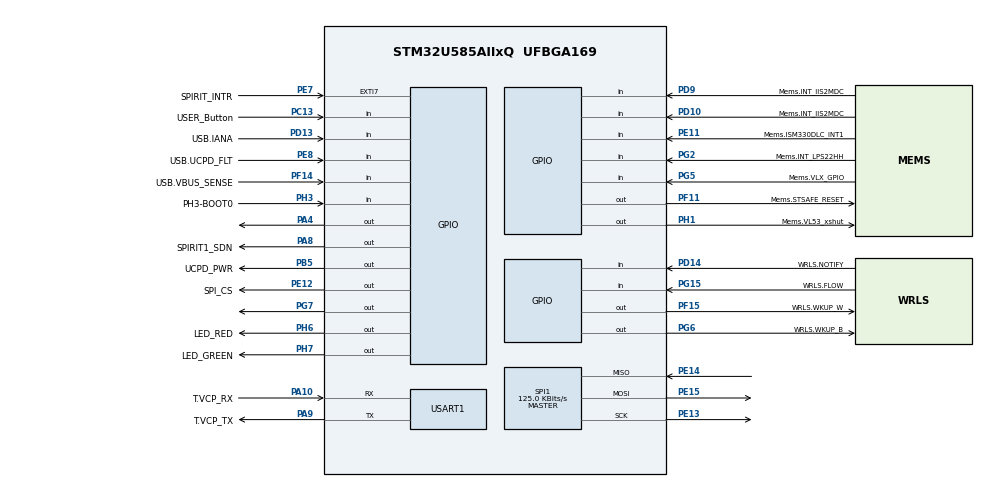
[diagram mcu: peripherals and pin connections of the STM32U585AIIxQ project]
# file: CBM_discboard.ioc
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CORTEX_M33_NS.userName=CORTEX_M33
Mcu.Family=STM32U5
Mcu.Name=STM32U585AIIxQ
Mcu.Package=UFBGA169
NVIC.EXTI7_IRQn=true\:1\:0\:true\:false\:true\:true\:true\:true
NVIC.PriorityGroup=NVIC_PRIORITYGROUP_4
PA10.GPIO_Label=T.VCP_RX
PA10.Mode=Asynchronous
PA10.Signal=USART1_RX
PA11.GPIO_Label=USB.C_P
PA11.Signal=USB_OTG_FS_DM
PA12.GPIO_Label=USB.C_P
PA12.Signal=USB_OTG_FS_DP
PA13\ (JTMS/SWDIO).GPIO_Label=T.SWDIO
PA13\ (JTMS/SWDIO).Signal=DEBUG_JTMS-SWDIO
PA14\ (JTCK/SWCLK).GPIO_Label=T.SWCLK
PA14\ (JTCK/SWCLK).Signal=DEBUG_JTCK-SWCLK
PA15\ (JTDI).GPIO_Label=USB.UCPD_CC1
PA15\ (JTDI).Signal=UCPD1_CC1
PA4.PinState=GPIO_PIN_SET
PA4.Signal=GPIO_Output
PA8.GPIO_Label=SPIRIT1_SDN
PA8.Signal=GPIO_Output
PA9.GPIO_Label=T.VCP_TX
PA9.Mode=Asynchronous
PA9.Signal=USART1_TX
PB1.GPIO_Label=MIC.SDIN0
PB1.Signal=MDF1_SDI0
PB10.GPIO_Label=OCTOSPI.R_CLK_P
PB10.Signal=OCTOSPIM_P1_CLK
PB11.GPIO_Label=OCTOSPI.R_NCS
PB11.Signal=OCTOSPIM_P1_NCS
PB12.GPIO_Label=WRLS.SPI2_NSS
PB12.Signal=SPI2_NSS
PB15.GPIO_Label=USB.UCPD_CC2
PB15.Signal=UCPD1_CC2
PB3\ (JTDO/TRACESWO).GPIO_Label=T.SWO
PB3\ (JTDO/TRACESWO).Signal=DEBUG_JTDO-SWO
PB5.GPIO_Label=UCPD_PWR
PB5.Signal=GPIO_Output
PB8.Signal=I2C1_SCL
PB9.Signal=I2C1_SDA
PC10.GPIO_Label=WRLS.UART4_TX
PC10.Signal=UART4_TX
PC11.GPIO_Label=WRLS.UART4_RX
PC11.Signal=UART4_RX
PC13.GPIO_Label=USER_Button
PC13.Signal=GPIO_Input
PC14-OSC32_IN\ (PC14).GPIO_Label=PC14-OSC32_IN
PC14-OSC32_IN\ (PC14).Signal=RCC_OSC32_IN
PC15-OSC32_OUT\ (PC15).GPIO_Label=PC15-OSC32_OUT
PC15-OSC32_OUT\ (PC15).Signal=RCC_OSC32_OUT
PC3.GPIO_Label=OCTOSPI.R_IO6
PC3.Signal=OCTOSPIM_P1_IO6
PD1.GPIO_Label=WRLS.SPI2_SCK
PD1.Signal=SPI2_SCK
PD10.GPIO_Label=Mems.INT_IIS2MDC
PD10.Signal=GPIO_Input
PD13.GPIO_Label=USB.IANA
PD13.Signal=GPIO_Input
PD14.GPIO_Label=WRLS.NOTIFY
PD14.Signal=GPIO_Input
PD3.GPIO_Label=WRLS.SPI2_MISO
PD3.Signal=SPI2_MISO
PD4.GPIO_Label=WRLS.SPI2_MOSI
PD4.Signal=SPI2_MOSI
PD7.GPIO_Label=OCTOSPI.R_IO7
PD7.Signal=OCTOSPIM_P1_IO7
PD9.GPIO_Label=Mems.INT_IIS2MDC
PD9.Signal=GPIO_Input
PE10.GPIO_Label=MIC.SDINx
PE10.Signal=ADF1_SDI0
PE11.GPIO_Label=Mems.ISM330DLC_INT1
PE11.Signal=GPIO_Input
PE12.GPIO_Label=SPI_CS
PE12.PinState=GPIO_PIN_SET
PE12.Signal=GPIO_Output
PE13.Mode=Full_Duplex_Master
PE13.Signal=SPI1_SCK
PE14.Mode=Full_Duplex_Master
PE14.Signal=SPI1_MISO
PE15.Mode=Full_Duplex_Master
PE15.Signal=SPI1_MOSI
PE3.GPIO_Label=OCTOSPI.R_DQS
PE3.Signal=OCTOSPIM_P1_DQS
PE7.GPIO_Label=SPIRIT_INTR
PE7.GPIO_ModeDefaultEXTI=GPIO_MODE_IT_FALLING
PE7.Signal=GPXTI7
PE8.GPIO_Label=USB.UCPD_FLT
PE8.Signal=GPIO_Input
PE9.GPIO_Label=MIC.CCK0
PE9.Signal=ADF1_CCK0
PF0.GPIO_Label=OCTOSPI.F_IO0
PF0.Signal=OCTOSPIM_P2_IO0
PF1.GPIO_Label=OCTOSPI.F_IO1
PF1.Signal=OCTOSPIM_P2_IO1
PF10.GPIO_Label=MIC.CCK1
PF10.Signal=MDF1_CCK1
PF11.GPIO_Label=Mems.STSAFE_RESET
PF11.Signal=GPIO_Output
PF12.GPIO_Label=OCTOSPI.F_DQS
PF12.Signal=OCTOSPIM_P2_DQS
PF14.GPIO_Label=USB.VBUS_SENSE
PF14.Signal=GPIO_Input
PF15.GPIO_Label=WRLS.WKUP_W
PF15.Signal=GPIO_Output
PF2.GPIO_Label=OCTOSPI.F_IO2
PF2.Signal=OCTOSPIM_P2_IO2
PF3.GPIO_Label=OCTOSPI.F_IO3
PF3.Signal=OCTOSPIM_P2_IO3
PF4.GPIO_Label=OCTOSPI.F_CLK_P
PF4.Signal=OCTOSPIM_P2_CLK
PF6.GPIO_Label=OCTOSPI.R_IO3
PF6.Signal=OCTOSPIM_P1_IO3
PF7.GPIO_Label=OCTOSPI.R_IO2
PF7.Signal=OCTOSPIM_P1_IO2
PF8.GPIO_Label=OCTOSPI.R_IO0
PF8.Signal=OCTOSPIM_P1_IO0
PF9.GPIO_Label=OCTOSPI.R_IO1
PF9.Signal=OCTOSPIM_P1_IO1
PG15.GPIO_Label=WRLS.FLOW
PG15.Signal=GPIO_Input
PG2.GPIO_Label=Mems.INT_LPS22HH
PG2.Signal=GPIO_Input
PG5.GPIO_Label=Mems.VLX_GPIO
PG5.Signal=GPIO_Input
PG6.GPIO_Label=WRLS.WKUP_B
PG6.Signal=GPIO_Output
PG7.Signal=GPIO_Output
PH1-OSC_OUT\ (PH1).GPIO_Label=Mems.VL53_xshut
PH1-OSC_OUT\ (PH1).Signal=GPIO_Output
PH10.GPIO_Label=OCTOSPI.F_IO5
PH10.Signal=OCTOSPIM_P2_IO5
PH11.GPIO_Label=OCTOSPI.F_IO6
PH11.Signal=OCTOSPIM_P2_IO6
PH12.GPIO_Label=OCTOSPI.F_IO7
PH12.Signal=OCTOSPIM_P2_IO7
PH2.GPIO_Label=OCTOSPI.R_IO4
PH2.Signal=OCTOSPIM_P1_IO4
PH3-BOOT0.GPIO_Label=PH3-BOOT0
PH3-BOOT0.Signal=GPIO_Input
PH4.Signal=I2C2_SCL
PH5.Signal=I2C2_SDA
PH6.GPIO_Label=LED_RED
PH6.Signal=GPIO_Output
PH7.GPIO_Label=LED_GREEN
PH7.Signal=GPIO_Output
PH9.GPIO_Label=OCTOSPI.F_IO4
PH9.Signal=OCTOSPIM_P2_IO4
PI0.GPIO_Label=OCTOSPI.R_IO5
PI0.Signal=OCTOSPIM_P1_IO5
PI5.GPIO_Label=OCTOSPI.F_NCS
PI5.Signal=OCTOSPIM_P2_NCS
ProjectManager.HeapSize=0x200
ProjectManager.StackSize=0x400
ProjectManager.TargetToolchain=STM32CubeIDE
RCC.DACCLockSelectionVirtual=RCC_DAC1CLKSOURCE_LSI
RCC.DACCLockSelectionVirtualString=RCC_DAC1CLKSOURCE_LSI
RCC.EPOD_VALUE=4000000
RCC.HSE_VALUE=16000000
RCC.HSI48_VALUE=48000000
RCC.HSI_VALUE=16000000
RCC.LSE_VALUE=32768
RCC.LSIDIV_VALUE=32000
RCC.MSI_VALUE=4000000
RCC.USBFreq_Value=48000000
RCC.VCOOutputFreq_Value=516000000
SPI1.BaudRatePrescaler=SPI_BAUDRATEPRESCALER_32
SPI1.CLKPhase=SPI_PHASE_1EDGE
SPI1.CalculateBaudRate=125.0 KBits/s
SPI1.DataSize=SPI_DATASIZE_8BIT
SPI1.Direction=SPI_DIRECTION_2LINES
SPI1.FirstBit=SPI_FIRSTBIT_MSB
SPI1.Mode=SPI_MODE_MASTER
SPI1.VirtualType=VM_MASTER
USART1.VirtualMode-Asynchronous=VM_ASYNC
VP_PWR_VS_DBSignals.Mode=DisableDeadBatterySignals
VP_PWR_VS_SECSignals.Mode=Security/Privilege
board=B-U585I-IOT02A

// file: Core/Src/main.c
/* USER CODE BEGIN Header */
/**
  ******************************************************************************
  * @file           : main.c
  * @brief          : Main program body
  ******************************************************************************
  * @attention
  *
  * Copyright (c) 2022 STMicroelectronics.
  * All rights reserved.
  *
  * This software is licensed under terms that can be found in the LICENSE file
  * in the root directory of this software component.
  * If no LICENSE file comes with this software, it is provided AS-IS.
  *
  ******************************************************************************
  */
/* USER CODE END Header */
#include "main.h"

/* USER CODE BEGIN Includes */
#include "spsgrf.h"
#include "string.h"
#include "debug.h"
#include "comm.h"
#include "config.h"
/* USER CODE END Includes */

SPI_HandleTypeDef hspi1;

UART_HandleTypeDef huart1;

/* USER CODE BEGIN PV */
const char *module = "main";
#define main_print_debug(str) print_debug(module, str);

enum states state = SEND;
uint8_t receive = 0;
/* USER CODE END PV */

void SystemClock_Config(void);
static void MX_GPIO_Init(void);
static void MX_SPI1_Init(void);
static void MX_USART1_UART_Init(void);

int main(void)
{

  /* MCU Configuration--------------------------------------------------------*/

  /* Reset of all peripherals, Initializes the Flash interface and the Systick. */
  HAL_Init();
  HAL_PWREx_EnableVddIO2();

  /* Configure the system clock */
  SystemClock_Config();

  /* Initialize all configured peripherals */
  MX_GPIO_Init();
  MX_SPI1_Init();
  MX_USART1_UART_Init();
  c.send_flag = config();
  /* USER CODE BEGIN 2 */
  main_print_debug("****************PROGRAM STARTED******************");
  main_print_debug("Peripherals initialized!");
  SPSGRF_Init();
  main_print_debug("SPSGRF initialized!");
  char test2[20];
  uint8_t rxdata[20];
  uint8_t temp_val[20];
  int i = 0;
  /* USER CODE END 2 */

  /* Infinite loop */
  /* USER CODE BEGIN WHILE */
  main_print_debug("Main loop begin");
  while (1)
  {
	  switch(state){
	  case SEND:
		  main_print_debug("Data send request");
		  comm_request(3.4,2,7,8);
		  HAL_Delay(20);
		  state = IDLE;
		  break;
	  case RECEIVE:
		  main_print_debug("Starting RX state");
		  SPSGRF_StartRx();
		  state = IDLE;
		  break;
	  case IDLE:
		  if(HAL_GPIO_ReadPin(GPIOC, USER_Button_Pin)){
			  main_print_debug("Button pressed");
			  state = SEND;
			  sprintf(test2, "hallo! %d", i);
			  i++;
		  }
		  HAL_Delay(100);
		  break;
	  }

    /* USER CODE END WHILE */

  }
}

void SystemClock_Config(void)
{
  RCC_OscInitTypeDef RCC_OscInitStruct = {0};
  RCC_ClkInitTypeDef RCC_ClkInitStruct = {0};

  /** Configure the main internal regulator output voltage
  */
  if (HAL_PWREx_ControlVoltageScaling(PWR_REGULATOR_VOLTAGE_SCALE4) != HAL_OK)
  {
    Error_Handler();
  }
  /** Initializes the CPU, AHB and APB busses clocks
  */
  RCC_OscInitStruct.OscillatorType = RCC_OSCILLATORTYPE_MSI;
  RCC_OscInitStruct.MSIState = RCC_MSI_ON;
  RCC_OscInitStruct.MSICalibrationValue = RCC_MSICALIBRATION_DEFAULT;
  RCC_OscInitStruct.MSIClockRange = RCC_MSIRANGE_4;
  RCC_OscInitStruct.PLL.PLLState = RCC_PLL_NONE;
  if (HAL_RCC_OscConfig(&RCC_OscInitStruct) != HAL_OK)
  {
    Error_Handler();
  }
  /** Initializes the CPU, AHB and APB busses clocks
  */
  RCC_ClkInitStruct.ClockType = RCC_CLOCKTYPE_HCLK|RCC_CLOCKTYPE_SYSCLK
                              |RCC_CLOCKTYPE_PCLK1|RCC_CLOCKTYPE_PCLK2
                              |RCC_CLOCKTYPE_PCLK3;
  RCC_ClkInitStruct.SYSCLKSource = RCC_SYSCLKSOURCE_MSI;
  RCC_ClkInitStruct.AHBCLKDivider = RCC_SYSCLK_DIV1;
  RCC_ClkInitStruct.APB1CLKDivider = RCC_HCLK_DIV1;
  RCC_ClkInitStruct.APB2CLKDivider = RCC_HCLK_DIV1;
  RCC_ClkInitStruct.APB3CLKDivider = RCC_HCLK_DIV1;

  if (HAL_RCC_ClockConfig(&RCC_ClkInitStruct, FLASH_LATENCY_0) != HAL_OK)
  {
    Error_Handler();
  }
  __HAL_RCC_PWR_CLK_DISABLE();
}

static void MX_SPI1_Init(void)
{

  SPI_AutonomousModeConfTypeDef HAL_SPI_AutonomousMode_Cfg_Struct = {0};

  /* SPI1 parameter configuration*/
  hspi1.Instance = SPI1;
  hspi1.Init.Mode = SPI_MODE_MASTER;
  hspi1.Init.Direction = SPI_DIRECTION_2LINES;
  hspi1.Init.DataSize = SPI_DATASIZE_8BIT;
  hspi1.Init.CLKPolarity = SPI_POLARITY_LOW;
  hspi1.Init.CLKPhase = SPI_PHASE_1EDGE;
  hspi1.Init.NSS = SPI_NSS_SOFT;
  hspi1.Init.BaudRatePrescaler = SPI_BAUDRATEPRESCALER_32;
  hspi1.Init.FirstBit = SPI_FIRSTBIT_MSB;
  hspi1.Init.TIMode = SPI_TIMODE_DISABLE;
  hspi1.Init.CRCCalculation = SPI_CRCCALCULATION_DISABLE;
  hspi1.Init.CRCPolynomial = 0x7;
  hspi1.Init.NSSPMode = SPI_NSS_PULSE_ENABLE;
  hspi1.Init.NSSPolarity = SPI_NSS_POLARITY_LOW;
  hspi1.Init.FifoThreshold = SPI_FIFO_THRESHOLD_01DATA;
  hspi1.Init.TxCRCInitializationPattern = SPI_CRC_INITIALIZATION_ALL_ZERO_PATTERN;
  hspi1.Init.RxCRCInitializationPattern = SPI_CRC_INITIALIZATION_ALL_ZERO_PATTERN;
  hspi1.Init.MasterSSIdleness = SPI_MASTER_SS_IDLENESS_00CYCLE;
  hspi1.Init.MasterInterDataIdleness = SPI_MASTER_INTERDATA_IDLENESS_00CYCLE;
  hspi1.Init.MasterReceiverAutoSusp = SPI_MASTER_RX_AUTOSUSP_DISABLE;
  hspi1.Init.MasterKeepIOState = SPI_MASTER_KEEP_IO_STATE_DISABLE;
  hspi1.Init.IOSwap = SPI_IO_SWAP_DISABLE;
  hspi1.Init.ReadyMasterManagement = SPI_RDY_MASTER_MANAGEMENT_INTERNALLY;
  hspi1.Init.ReadyPolarity = SPI_RDY_POLARITY_HIGH;
  if (HAL_SPI_Init(&hspi1) != HAL_OK)
  {
    Error_Handler();
  }
  HAL_SPI_AutonomousMode_Cfg_Struct.TriggerState = SPI_AUTO_MODE_DISABLE;
  HAL_SPI_AutonomousMode_Cfg_Struct.TriggerSelection = SPI_GRP1_GPDMA_CH0_TCF_TRG;
  HAL_SPI_AutonomousMode_Cfg_Struct.TriggerPolarity = SPI_TRIG_POLARITY_RISING;
  if (HAL_SPIEx_SetConfigAutonomousMode(&hspi1, &HAL_SPI_AutonomousMode_Cfg_Struct) != HAL_OK)
  {
    Error_Handler();
  }

}

static void MX_USART1_UART_Init(void)
{

  huart1.Instance = USART1;
  huart1.Init.BaudRate = 115200;
  huart1.Init.WordLength = UART_WORDLENGTH_8B;
  huart1.Init.StopBits = UART_STOPBITS_1;
  huart1.Init.Parity = UART_PARITY_NONE;
  huart1.Init.Mode = UART_MODE_TX_RX;
  huart1.Init.HwFlowCtl = UART_HWCONTROL_NONE;
  huart1.Init.OverSampling = UART_OVERSAMPLING_16;
  huart1.Init.OneBitSampling = UART_ONE_BIT_SAMPLE_DISABLE;
  huart1.Init.ClockPrescaler = UART_PRESCALER_DIV1;
  huart1.AdvancedInit.AdvFeatureInit = UART_ADVFEATURE_NO_INIT;
  if (HAL_UART_Init(&huart1) != HAL_OK)
  {
    Error_Handler();
  }
  if (HAL_UARTEx_SetTxFifoThreshold(&huart1, UART_TXFIFO_THRESHOLD_1_8) != HAL_OK)
  {
    Error_Handler();
  }
  if (HAL_UARTEx_SetRxFifoThreshold(&huart1, UART_RXFIFO_THRESHOLD_1_8) != HAL_OK)
  {
    Error_Handler();
  }
  if (HAL_UARTEx_DisableFifoMode(&huart1) != HAL_OK)
  {
    Error_Handler();
  }

}

static void MX_GPIO_Init(void)
{
  GPIO_InitTypeDef GPIO_InitStruct = {0};

  /* GPIO Ports Clock Enable */
  __HAL_RCC_GPIOG_CLK_ENABLE();
  __HAL_RCC_GPIOC_CLK_ENABLE();
  __HAL_RCC_GPIOA_CLK_ENABLE();
  __HAL_RCC_GPIOI_CLK_ENABLE();
  __HAL_RCC_GPIOH_CLK_ENABLE();
  __HAL_RCC_GPIOB_CLK_ENABLE();
  __HAL_RCC_GPIOD_CLK_ENABLE();
  __HAL_RCC_GPIOE_CLK_ENABLE();
  __HAL_RCC_GPIOF_CLK_ENABLE();

  /*Configure GPIO pin Output Level */
  HAL_GPIO_WritePin(UCPD_PWR_GPIO_Port, UCPD_PWR_Pin, GPIO_PIN_RESET);

  /*Configure GPIO pin Output Level */
  HAL_GPIO_WritePin(GPIOH, LED_RED_Pin|LED_GREEN_Pin|Mems_VL53_xshut_Pin, GPIO_PIN_RESET);

  /*Configure GPIO pin Output Level */
  HAL_GPIO_WritePin(SPIRIT1_SDN_GPIO_Port, SPIRIT1_SDN_Pin, GPIO_PIN_RESET);

  /*Configure GPIO pin Output Level */
  HAL_GPIO_WritePin(GPIOG, GPIO_PIN_7|WRLS_WKUP_B_Pin, GPIO_PIN_RESET);

  /*Configure GPIO pin Output Level */
  HAL_GPIO_WritePin(GPIOF, Mems_STSAFE_RESET_Pin|WRLS_WKUP_W_Pin, GPIO_PIN_RESET);

  /*Configure GPIO pin Output Level */
  HAL_GPIO_WritePin(GPIOA, GPIO_PIN_4, GPIO_PIN_SET);

  /*Configure GPIO pin Output Level */
  HAL_GPIO_WritePin(SPI_CS_GPIO_Port, SPI_CS_Pin, GPIO_PIN_SET);

  /*Configure GPIO pins : WRLS_FLOW_Pin Mems_VLX_GPIO_Pin Mems_INT_LPS22HH_Pin */
  GPIO_InitStruct.Pin = WRLS_FLOW_Pin|Mems_VLX_GPIO_Pin|Mems_INT_LPS22HH_Pin;
  GPIO_InitStruct.Mode = GPIO_MODE_INPUT;
  GPIO_InitStruct.Pull = GPIO_NOPULL;
  HAL_GPIO_Init(GPIOG, &GPIO_InitStruct);

  /*Configure GPIO pins : WRLS_UART4_RX_Pin WRLS_UART4_TX_Pin */
  GPIO_InitStruct.Pin = WRLS_UART4_RX_Pin|WRLS_UART4_TX_Pin;
  GPIO_InitStruct.Mode = GPIO_MODE_AF_PP;
  GPIO_InitStruct.Pull = GPIO_NOPULL;
  GPIO_InitStruct.Speed = GPIO_SPEED_FREQ_LOW;
  GPIO_InitStruct.Alternate = GPIO_AF8_UART4;
  HAL_GPIO_Init(GPIOC, &GPIO_InitStruct);

  /*Configure GPIO pin : USB_UCPD_CC1_Pin */
  GPIO_InitStruct.Pin = USB_UCPD_CC1_Pin;
  GPIO_InitStruct.Mode = GPIO_MODE_ANALOG;
  GPIO_InitStruct.Pull = GPIO_NOPULL;
  HAL_GPIO_Init(USB_UCPD_CC1_GPIO_Port, &GPIO_InitStruct);

  /*Configure GPIO pin : OCTOSPI_F_NCS_Pin */
  GPIO_InitStruct.Pin = OCTOSPI_F_NCS_Pin;
  GPIO_InitStruct.Mode = GPIO_MODE_AF_PP;
  GPIO_InitStruct.Pull = GPIO_NOPULL;
  GPIO_InitStruct.Speed = GPIO_SPEED_FREQ_VERY_HIGH;
  GPIO_InitStruct.Alternate = GPIO_AF5_OCTOSPI2;
  HAL_GPIO_Init(OCTOSPI_F_NCS_GPIO_Port, &GPIO_InitStruct);

  /*Configure GPIO pin : OCTOSPI_R_IO5_Pin */
  GPIO_InitStruct.Pin = OCTOSPI_R_IO5_Pin;
  GPIO_InitStruct.Mode = GPIO_MODE_AF_PP;
  GPIO_InitStruct.Pull = GPIO_NOPULL;
  GPIO_InitStruct.Speed = GPIO_SPEED_FREQ_VERY_HIGH;
  GPIO_InitStruct.Alternate = GPIO_AF3_OCTOSPI1;
  HAL_GPIO_Init(OCTOSPI_R_IO5_GPIO_Port, &GPIO_InitStruct);

  /*Configure GPIO pins : OCTOSPI_F_IO7_Pin OCTOSPI_F_IO5_Pin OCTOSPI_F_IO6_Pin OCTOSPI_F_IO4_Pin */
  GPIO_InitStruct.Pin = OCTOSPI_F_IO7_Pin|OCTOSPI_F_IO5_Pin|OCTOSPI_F_IO6_Pin|OCTOSPI_F_IO4_Pin;
  GPIO_InitStruct.Mode = GPIO_MODE_AF_PP;
  GPIO_InitStruct.Pull = GPIO_NOPULL;
  GPIO_InitStruct.Speed = GPIO_SPEED_FREQ_VERY_HIGH;
  GPIO_InitStruct.Alternate = GPIO_AF5_OCTOSPI2;
  HAL_GPIO_Init(GPIOH, &GPIO_InitStruct);

  /*Configure GPIO pin : PH3_BOOT0_Pin */
  GPIO_InitStruct.Pin = PH3_BOOT0_Pin;
  GPIO_InitStruct.Mode = GPIO_MODE_INPUT;
  GPIO_InitStruct.Pull = GPIO_NOPULL;
  HAL_GPIO_Init(PH3_BOOT0_GPIO_Port, &GPIO_InitStruct);

  /*Configure GPIO pin : UCPD_PWR_Pin */
  GPIO_InitStruct.Pin = UCPD_PWR_Pin;
  GPIO_InitStruct.Mode = GPIO_MODE_OUTPUT_PP;
  GPIO_InitStruct.Pull = GPIO_NOPULL;
  GPIO_InitStruct.Speed = GPIO_SPEED_FREQ_LOW;
  HAL_GPIO_Init(UCPD_PWR_GPIO_Port, &GPIO_InitStruct);

  /*Configure GPIO pins : WRLS_SPI2_MOSI_Pin WRLS_SPI2_MISO_Pin WRLS_SPI2_SCK_Pin */
  GPIO_InitStruct.Pin = WRLS_SPI2_MOSI_Pin|WRLS_SPI2_MISO_Pin|WRLS_SPI2_SCK_Pin;
  GPIO_InitStruct.Mode = GPIO_MODE_AF_PP;
  GPIO_InitStruct.Pull = GPIO_NOPULL;
  GPIO_InitStruct.Speed = GPIO_SPEED_FREQ_LOW;
  GPIO_InitStruct.Alternate = GPIO_AF5_SPI2;
  HAL_GPIO_Init(GPIOD, &GPIO_InitStruct);

  /*Configure GPIO pin : OCTOSPI_R_DQS_Pin */
  GPIO_InitStruct.Pin = OCTOSPI_R_DQS_Pin;
  GPIO_InitStruct.Mode = GPIO_MODE_AF_PP;
  GPIO_InitStruct.Pull = GPIO_NOPULL;
  GPIO_InitStruct.Speed = GPIO_SPEED_FREQ_VERY_HIGH;
  GPIO_InitStruct.Alternate = GPIO_AF3_OCTOSPI1;
  HAL_GPIO_Init(OCTOSPI_R_DQS_GPIO_Port, &GPIO_InitStruct);

  /*Configure GPIO pins : PB9 PB8 */
  GPIO_InitStruct.Pin = GPIO_PIN_9|GPIO_PIN_8;
  GPIO_InitStruct.Mode = GPIO_MODE_AF_OD;
  GPIO_InitStruct.Pull = GPIO_NOPULL;
  GPIO_InitStruct.Speed = GPIO_SPEED_FREQ_LOW;
  GPIO_InitStruct.Alternate = GPIO_AF4_I2C1;
  HAL_GPIO_Init(GPIOB, &GPIO_InitStruct);

  /*Configure GPIO pin : OCTOSPI_R_IO7_Pin */
  GPIO_InitStruct.Pin = OCTOSPI_R_IO7_Pin;
  GPIO_InitStruct.Mode = GPIO_MODE_AF_PP;
  GPIO_InitStruct.Pull = GPIO_NOPULL;
  GPIO_InitStruct.Speed = GPIO_SPEED_FREQ_VERY_HIGH;
  GPIO_InitStruct.Alternate = GPIO_AF10_OCTOSPI1;
  HAL_GPIO_Init(OCTOSPI_R_IO7_GPIO_Port, &GPIO_InitStruct);

  /*Configure GPIO pins : OCTOSPI_F_IO0_Pin OCTOSPI_F_IO1_Pin OCTOSPI_F_IO2_Pin OCTOSPI_F_IO3_Pin
                           OCTOSPI_F_CLK_P_Pin OCTOSPI_F_DQS_Pin */
  GPIO_InitStruct.Pin = OCTOSPI_F_IO0_Pin|OCTOSPI_F_IO1_Pin|OCTOSPI_F_IO2_Pin|OCTOSPI_F_IO3_Pin
                          |OCTOSPI_F_CLK_P_Pin|OCTOSPI_F_DQS_Pin;
  GPIO_InitStruct.Mode = GPIO_MODE_AF_PP;
  GPIO_InitStruct.Pull = GPIO_NOPULL;
  GPIO_InitStruct.Speed = GPIO_SPEED_FREQ_VERY_HIGH;
  GPIO_InitStruct.Alternate = GPIO_AF5_OCTOSPI2;
  HAL_GPIO_Init(GPIOF, &GPIO_InitStruct);

  /*Configure GPIO pin : USER_Button_Pin */
  GPIO_InitStruct.Pin = USER_Button_Pin;
  GPIO_InitStruct.Mode = GPIO_MODE_INPUT;
  GPIO_InitStruct.Pull = GPIO_NOPULL;
  HAL_GPIO_Init(USER_Button_GPIO_Port, &GPIO_InitStruct);

  /*Configure GPIO pins : PH4 PH5 */
  GPIO_InitStruct.Pin = GPIO_PIN_4|GPIO_PIN_5;
  GPIO_InitStruct.Mode = GPIO_MODE_AF_OD;
  GPIO_InitStruct.Pull = GPIO_NOPULL;
  GPIO_InitStruct.Speed = GPIO_SPEED_FREQ_LOW;
  GPIO_InitStruct.Alternate = GPIO_AF4_I2C2;
  HAL_GPIO_Init(GPIOH, &GPIO_InitStruct);

  /*Configure GPIO pins : LED_RED_Pin LED_GREEN_Pin Mems_VL53_xshut_Pin */
  GPIO_InitStruct.Pin = LED_RED_Pin|LED_GREEN_Pin|Mems_VL53_xshut_Pin;
  GPIO_InitStruct.Mode = GPIO_MODE_OUTPUT_PP;
  GPIO_InitStruct.Pull = GPIO_NOPULL;
  GPIO_InitStruct.Speed = GPIO_SPEED_FREQ_LOW;
  HAL_GPIO_Init(GPIOH, &GPIO_InitStruct);

  /*Configure GPIO pins : OCTOSPI_R_IO0_Pin OCTOSPI_R_IO2_Pin OCTOSPI_R_IO1_Pin OCTOSPI_R_IO3_Pin */
  GPIO_InitStruct.Pin = OCTOSPI_R_IO0_Pin|OCTOSPI_R_IO2_Pin|OCTOSPI_R_IO1_Pin|OCTOSPI_R_IO3_Pin;
  GPIO_InitStruct.Mode = GPIO_MODE_AF_PP;
  GPIO_InitStruct.Pull = GPIO_NOPULL;
  GPIO_InitStruct.Speed = GPIO_SPEED_FREQ_VERY_HIGH;
  GPIO_InitStruct.Alternate = GPIO_AF10_OCTOSPI1;
  HAL_GPIO_Init(GPIOF, &GPIO_InitStruct);

  /*Configure GPIO pin : OCTOSPI_R_IO4_Pin */
  GPIO_InitStruct.Pin = OCTOSPI_R_IO4_Pin;
  GPIO_InitStruct.Mode = GPIO_MODE_AF_PP;
  GPIO_InitStruct.Pull = GPIO_NOPULL;
  GPIO_InitStruct.Speed = GPIO_SPEED_FREQ_VERY_HIGH;
  GPIO_InitStruct.Alternate = GPIO_AF3_OCTOSPI1;
  HAL_GPIO_Init(OCTOSPI_R_IO4_GPIO_Port, &GPIO_InitStruct);

  /*Configure GPIO pins : USB_C_P_Pin USB_C_PA11_Pin */
  GPIO_InitStruct.Pin = USB_C_P_Pin|USB_C_PA11_Pin;
  GPIO_InitStruct.Mode = GPIO_MODE_AF_PP;
  GPIO_InitStruct.Pull = GPIO_NOPULL;
  GPIO_InitStruct.Speed = GPIO_SPEED_FREQ_LOW;
  GPIO_InitStruct.Alternate = GPIO_AF10_USB;
  HAL_GPIO_Init(GPIOA, &GPIO_InitStruct);

  /*Configure GPIO pins : SPIRIT1_SDN_Pin PA4 */
  GPIO_InitStruct.Pin = SPIRIT1_SDN_Pin|GPIO_PIN_4;
  GPIO_InitStruct.Mode = GPIO_MODE_OUTPUT_PP;
  GPIO_InitStruct.Pull = GPIO_NOPULL;
  GPIO_InitStruct.Speed = GPIO_SPEED_FREQ_LOW;
  HAL_GPIO_Init(GPIOA, &GPIO_InitStruct);

  /*Configure GPIO pins : PG7 WRLS_WKUP_B_Pin */
  GPIO_InitStruct.Pin = GPIO_PIN_7|WRLS_WKUP_B_Pin;
  GPIO_InitStruct.Mode = GPIO_MODE_OUTPUT_PP;
  GPIO_InitStruct.Pull = GPIO_NOPULL;
  GPIO_InitStruct.Speed = GPIO_SPEED_FREQ_LOW;
  HAL_GPIO_Init(GPIOG, &GPIO_InitStruct);

  /*Configure GPIO pin : MIC_CCK1_Pin */
  GPIO_InitStruct.Pin = MIC_CCK1_Pin;
  GPIO_InitStruct.Mode = GPIO_MODE_AF_PP;
  GPIO_InitStruct.Pull = GPIO_NOPULL;
  GPIO_InitStruct.Speed = GPIO_SPEED_FREQ_LOW;
  GPIO_InitStruct.Alternate = GPIO_AF6_MDF1;
  HAL_GPIO_Init(MIC_CCK1_GPIO_Port, &GPIO_InitStruct);

  /*Configure GPIO pins : MIC_SDINx_Pin MIC_CCK0_Pin */
  GPIO_InitStruct.Pin = MIC_SDINx_Pin|MIC_CCK0_Pin;
  GPIO_InitStruct.Mode = GPIO_MODE_AF_PP;
  GPIO_InitStruct.Pull = GPIO_NOPULL;
  GPIO_InitStruct.Speed = GPIO_SPEED_FREQ_LOW;
  GPIO_InitStruct.Alternate = GPIO_AF3_ADF1;
  HAL_GPIO_Init(GPIOE, &GPIO_InitStruct);

  /*Configure GPIO pins : WRLS_NOTIFY_Pin Mems_INT_IIS2MDC_Pin USB_IANA_Pin Mems_INT_IIS2MDCD9_Pin */
  GPIO_InitStruct.Pin = WRLS_NOTIFY_Pin|Mems_INT_IIS2MDC_Pin|USB_IANA_Pin|Mems_INT_IIS2MDCD9_Pin;
  GPIO_InitStruct.Mode = GPIO_MODE_INPUT;
  GPIO_InitStruct.Pull = GPIO_NOPULL;
  HAL_GPIO_Init(GPIOD, &GPIO_InitStruct);

  /*Configure GPIO pin : OCTOSPI_R_IO6_Pin */
  GPIO_InitStruct.Pin = OCTOSPI_R_IO6_Pin;
  GPIO_InitStruct.Mode = GPIO_MODE_AF_PP;
  GPIO_InitStruct.Pull = GPIO_NOPULL;
  GPIO_InitStruct.Speed = GPIO_SPEED_FREQ_VERY_HIGH;
  GPIO_InitStruct.Alternate = GPIO_AF10_OCTOSPI1;
  HAL_GPIO_Init(OCTOSPI_R_IO6_GPIO_Port, &GPIO_InitStruct);

  /*Configure GPIO pins : USB_UCPD_FLT_Pin Mems_ISM330DLC_INT1_Pin */
  GPIO_InitStruct.Pin = USB_UCPD_FLT_Pin|Mems_ISM330DLC_INT1_Pin;
  GPIO_InitStruct.Mode = GPIO_MODE_INPUT;
  GPIO_InitStruct.Pull = GPIO_NOPULL;
  HAL_GPIO_Init(GPIOE, &GPIO_InitStruct);

  /*Configure GPIO pins : OCTOSPI_R_CLK_P_Pin OCTOSPI_R_NCS_Pin */
  GPIO_InitStruct.Pin = OCTOSPI_R_CLK_P_Pin|OCTOSPI_R_NCS_Pin;
  GPIO_InitStruct.Mode = GPIO_MODE_AF_PP;
  GPIO_InitStruct.Pull = GPIO_NOPULL;
  GPIO_InitStruct.Speed = GPIO_SPEED_FREQ_VERY_HIGH;
  GPIO_InitStruct.Alternate = GPIO_AF10_OCTOSPI1;
  HAL_GPIO_Init(GPIOB, &GPIO_InitStruct);

  /*Configure GPIO pin : USB_VBUS_SENSE_Pin */
  GPIO_InitStruct.Pin = USB_VBUS_SENSE_Pin;
  GPIO_InitStruct.Mode = GPIO_MODE_INPUT;
  GPIO_InitStruct.Pull = GPIO_NOPULL;
  HAL_GPIO_Init(USB_VBUS_SENSE_GPIO_Port, &GPIO_InitStruct);

  /*Configure GPIO pin : SPIRIT_INTR_Pin */
  GPIO_InitStruct.Pin = SPIRIT_INTR_Pin;
  GPIO_InitStruct.Mode = GPIO_MODE_IT_FALLING;
  GPIO_InitStruct.Pull = GPIO_NOPULL;
  HAL_GPIO_Init(SPIRIT_INTR_GPIO_Port, &GPIO_InitStruct);

  /*Configure GPIO pin : WRLS_SPI2_NSS_Pin */
  GPIO_InitStruct.Pin = WRLS_SPI2_NSS_Pin;
  GPIO_InitStruct.Mode = GPIO_MODE_AF_PP;
  GPIO_InitStruct.Pull = GPIO_NOPULL;
  GPIO_InitStruct.Speed = GPIO_SPEED_FREQ_LOW;
  GPIO_InitStruct.Alternate = GPIO_AF5_SPI2;
  HAL_GPIO_Init(WRLS_SPI2_NSS_GPIO_Port, &GPIO_InitStruct);

  /*Configure GPIO pin : USB_UCPD_CC2_Pin */
  GPIO_InitStruct.Pin = USB_UCPD_CC2_Pin;
  GPIO_InitStruct.Mode = GPIO_MODE_ANALOG;
  GPIO_InitStruct.Pull = GPIO_NOPULL;
  HAL_GPIO_Init(USB_UCPD_CC2_GPIO_Port, &GPIO_InitStruct);

  /*Configure GPIO pins : Mems_STSAFE_RESET_Pin WRLS_WKUP_W_Pin */
  GPIO_InitStruct.Pin = Mems_STSAFE_RESET_Pin|WRLS_WKUP_W_Pin;
  GPIO_InitStruct.Mode = GPIO_MODE_OUTPUT_PP;
  GPIO_InitStruct.Pull = GPIO_NOPULL;
  GPIO_InitStruct.Speed = GPIO_SPEED_FREQ_LOW;
  HAL_GPIO_Init(GPIOF, &GPIO_InitStruct);

  /*Configure GPIO pin : MIC_SDIN0_Pin */
  GPIO_InitStruct.Pin = MIC_SDIN0_Pin;
  GPIO_InitStruct.Mode = GPIO_MODE_AF_PP;
  GPIO_InitStruct.Pull = GPIO_NOPULL;
  GPIO_InitStruct.Speed = GPIO_SPEED_FREQ_LOW;
  GPIO_InitStruct.Alternate = GPIO_AF6_MDF1;
  HAL_GPIO_Init(MIC_SDIN0_GPIO_Port, &GPIO_InitStruct);

  /*Configure GPIO pin : SPI_CS_Pin */
  GPIO_InitStruct.Pin = SPI_CS_Pin;
  GPIO_InitStruct.Mode = GPIO_MODE_OUTPUT_PP;
  GPIO_InitStruct.Pull = GPIO_NOPULL;
  GPIO_InitStruct.Speed = GPIO_SPEED_FREQ_LOW;
  HAL_GPIO_Init(SPI_CS_GPIO_Port, &GPIO_InitStruct);

  /* EXTI interrupt init*/
  HAL_NVIC_SetPriority(EXTI7_IRQn, 1, 0);
  HAL_NVIC_EnableIRQ(EXTI7_IRQn);

}

void Error_Handler(void)
{
  __disable_irq();
  while (1)
  {
  }
}
